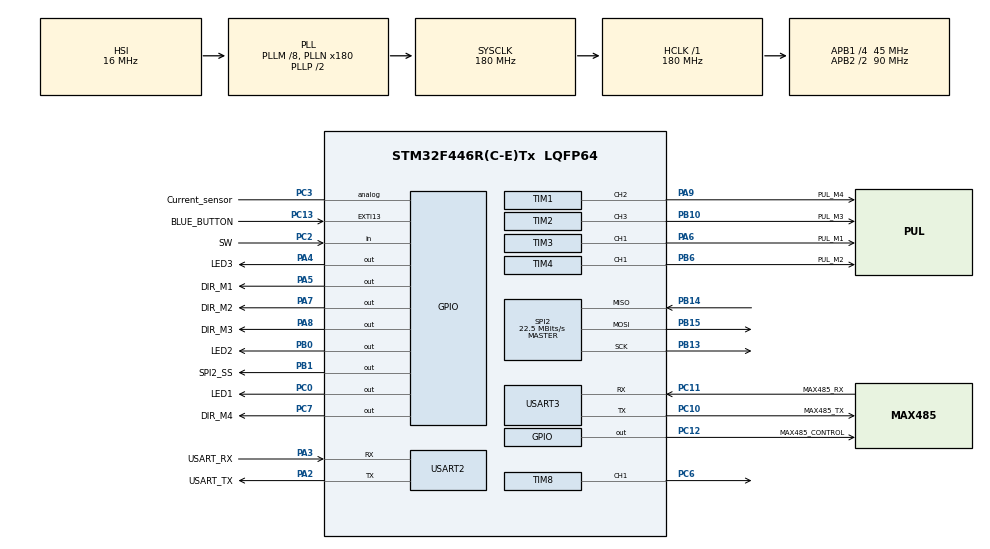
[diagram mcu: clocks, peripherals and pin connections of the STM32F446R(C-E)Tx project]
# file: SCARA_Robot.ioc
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Mcu.Family=STM32F4
Mcu.Name=STM32F446R(C-E)Tx
Mcu.Package=LQFP64
NVIC.PriorityGroup=NVIC_PRIORITYGROUP_0
NVIC.USART2_IRQn=true\:0\:0\:false\:false\:true\:true\:true
PA13.GPIO_Label=TMS
PA13.Mode=Serial_Wire
PA13.Signal=SYS_JTMS-SWDIO
PA14.GPIO_Label=TCK
PA14.Mode=Serial_Wire
PA14.Signal=SYS_JTCK-SWCLK
PA2.GPIO_Label=USART_TX
PA2.Mode=Asynchronous
PA2.Signal=USART2_TX
PA3.GPIO_Label=USART_RX
PA3.Mode=Asynchronous
PA3.Signal=USART2_RX
PA4.GPIO_Label=LED3
PA4.Signal=GPIO_Output
PA5.GPIO_Label=DIR_M1
PA5.Signal=GPIO_Output
PA6.GPIO_Label=PUL_M1
PA6.Signal=S_TIM3_CH1
PA7.GPIO_Label=DIR_M2
PA7.Signal=GPIO_Output
PA8.GPIO_Label=DIR_M3
PA8.Signal=GPIO_Output
PA9.GPIO_Label=PUL_M4
PA9.Signal=S_TIM1_CH2
PB0.GPIO_Label=LED2
PB0.Signal=GPIO_Output
PB1.GPIO_Label=SPI2_SS
PB1.Signal=GPIO_Output
PB10.GPIO_Label=PUL_M3
PB10.Signal=S_TIM2_CH3
PB13.Mode=Full_Duplex_Master
PB13.Signal=SPI2_SCK
PB14.Mode=Full_Duplex_Master
PB14.Signal=SPI2_MISO
PB15.Mode=Full_Duplex_Master
PB15.Signal=SPI2_MOSI
PB6.GPIO_Label=PUL_M2
PB6.Signal=S_TIM4_CH1
PC0.GPIO_Label=LED1
PC0.Signal=GPIO_Output
PC10.GPIO_Label=MAX485_TX
PC10.Mode=Asynchronous
PC10.Signal=USART3_TX
PC11.GPIO_Label=MAX485_RX
PC11.Mode=Asynchronous
PC11.Signal=USART3_RX
PC12.GPIO_Label=MAX485_CONTROL
PC12.Signal=GPIO_Output
PC13.GPIO_Label=BLUE_BUTTON
PC13.GPIO_ModeDefaultEXTI=GPIO_MODE_IT_FALLING
PC13.Signal=GPXTI13
PC14-OSC32_IN.Mode=LSE-External-Oscillator
PC14-OSC32_IN.Signal=RCC_OSC32_IN
PC15-OSC32_OUT.Mode=LSE-External-Oscillator
PC15-OSC32_OUT.Signal=RCC_OSC32_OUT
PC2.GPIO_Label=SW
PC2.Signal=GPIO_Input
PC3.GPIO_Label=Current_sensor
PC3.Signal=GPIO_Analog
PC6.Signal=S_TIM8_CH1
PC7.GPIO_Label=DIR_M4
PC7.Signal=GPIO_Output
PH0-OSC_IN.Mode=HSE-External-Oscillator
PH0-OSC_IN.Signal=RCC_OSC_IN
PH1-OSC_OUT.Mode=HSE-External-Oscillator
PH1-OSC_OUT.Signal=RCC_OSC_OUT
ProjectManager.HeapSize=0x200
ProjectManager.StackSize=0x400
ProjectManager.TargetToolchain=STM32CubeIDE
RCC.48MHZClocksFreq_Value=84000000
RCC.AHBFreq_Value=180000000
RCC.APB1CLKDivider=RCC_HCLK_DIV4
RCC.APB1Freq_Value=45000000
RCC.APB1TimFreq_Value=90000000
RCC.APB2CLKDivider=RCC_HCLK_DIV2
RCC.APB2Freq_Value=90000000
RCC.APB2TimFreq_Value=180000000
RCC.CortexFreq_Value=180000000
RCC.FLatency-AdvancedSettings=FLASH_LATENCY_5
RCC.HCLKFreq_Value=180000000
RCC.HSE_VALUE=8000000
RCC.HSI_VALUE=16000000
RCC.PLLM=8
RCC.PLLN=180
RCC.SYSCLKFreq_VALUE=180000000
RCC.SYSCLKSource=RCC_SYSCLKSOURCE_PLLCLK
RCC.USBFreq_Value=180000000
RCC.VCOOutputFreq_Value=360000000
SH.S_TIM1_CH2.0=TIM1_CH2,PWM Generation2 CH2
SH.S_TIM2_CH3.0=TIM2_CH3,PWM Generation3 CH3
SH.S_TIM3_CH1.0=TIM3_CH1,PWM Generation1 CH1
SH.S_TIM4_CH1.0=TIM4_CH1,PWM Generation1 CH1
SH.S_TIM8_CH1.0=TIM8_CH1,PWM Generation1 CH1
SPI2.CalculateBaudRate=22.5 MBits/s
SPI2.Direction=SPI_DIRECTION_2LINES
SPI2.Mode=SPI_MODE_MASTER
SPI2.VirtualType=VM_MASTER
TIM1.AutoReloadPreload=TIM_AUTORELOAD_PRELOAD_ENABLE
TIM1.Channel-PWM\ Generation2\ CH2=TIM_CHANNEL_2
TIM1.Period=100-1
TIM1.Prescaler=2999
TIM1.Pulse-PWM\ Generation2\ CH2=50
TIM2.AutoReloadPreload=TIM_AUTORELOAD_PRELOAD_ENABLE
TIM2.Channel-PWM\ Generation3\ CH3=TIM_CHANNEL_3
TIM2.Period=119
TIM2.Prescaler=1499
TIM2.Pulse-PWM\ Generation3\ CH3=60
TIM3.AutoReloadPreload=TIM_AUTORELOAD_PRELOAD_ENABLE
TIM3.Channel-PWM\ Generation1\ CH1=TIM_CHANNEL_1
TIM3.Period=100-1
TIM3.Prescaler=1499
TIM3.Pulse-PWM\ Generation1\ CH1=50
TIM4.AutoReloadPreload=TIM_AUTORELOAD_PRELOAD_ENABLE
TIM4.Channel-PWM\ Generation1\ CH1=TIM_CHANNEL_1
TIM4.Period=100-1
TIM4.Prescaler=1499
TIM4.Pulse-PWM\ Generation1\ CH1=50
TIM8.Channel-PWM\ Generation1\ CH1=TIM_CHANNEL_1
TIM8.Period=100-1
TIM8.Prescaler=18000-1
TIM8.Pulse-PWM\ Generation1\ CH1=50
USART2.VirtualMode=VM_ASYNC
USART3.VirtualMode=VM_ASYNC
VP_TIM1_VS_ClockSourceINT.Mode=Internal
VP_TIM2_VS_ClockSourceINT.Mode=Internal
VP_TIM3_VS_ClockSourceINT.Mode=Internal
VP_TIM4_VS_ClockSourceINT.Mode=Internal
board=NUCLEO-F446RE

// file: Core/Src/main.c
/* USER CODE BEGIN Header */
/**
  ******************************************************************************
  * @file           : main.c
  * @brief          : Main program body
  ******************************************************************************
  * @attention
  *
  * <h2><center>&copy; Copyright (c) 2021 STMicroelectronics.
  * All rights reserved.</center></h2>
  *
  * This software component is licensed by ST under BSD 3-Clause license,
  * the "License"; You may not use this file except in compliance with the
  * License. You may obtain a copy of the License at:
  *                        opensource.org/licenses/BSD-3-Clause
  *
  ******************************************************************************
  */
/* USER CODE END Header */
#include "main.h"

/* USER CODE BEGIN Includes */
#include <stdio.h>
/* USER CODE END Includes */

SPI_HandleTypeDef hspi2;

TIM_HandleTypeDef htim1;
TIM_HandleTypeDef htim2;
TIM_HandleTypeDef htim3;
TIM_HandleTypeDef htim4;
TIM_HandleTypeDef htim8;

UART_HandleTypeDef huart2;
UART_HandleTypeDef huart3;

void SystemClock_Config(void);
static void MX_GPIO_Init(void);
static void MX_USART2_UART_Init(void);
static void MX_TIM1_Init(void);
static void MX_TIM2_Init(void);
static void MX_TIM3_Init(void);
static void MX_TIM4_Init(void);
static void MX_SPI2_Init(void);
static void MX_USART3_UART_Init(void);
static void MX_TIM8_Init(void);
/* USER CODE BEGIN PFP */
long map(long x, long fromLow, long fromHigh, long toLow, long toHigh);
void Motor1_On(char Direction, char speed);
void Motor2_On(char Direction, char speed);
void Motor3_On(char Direction, char speed);
void Motor4_On(char Direction, char speed);
void Motor1_Off();
void Motor2_Off();
void Motor3_Off();
void Motor4_Off();
//serial protocol function
void CheckSum(uint8_t sum);
void clear_buffer(void);
void package_state(void);

void test_aon() {
	if (HAL_GPIO_ReadPin(BLUE_BUTTON_GPIO_Port, BLUE_BUTTON_Pin) == 0) {
		Motor2_On(1, 90);
	}
	else {
		Motor2_Off();
	}
}

/* USER CODE END PFP */

/* USER CODE BEGIN 0 */
//serial gobol variable
uint8_t TX_Buffer[] = {0xFF};//"Hello World!\r\n";
uint8_t RX_Buffer[7]= {0};
uint8_t package[7];
uint8_t state;
uint8_t state_check;
uint8_t checksum[2];
uint8_t acknowledge[5] = {0xFF, 0x01, 0x01, 0x66, 0x65};

void HAL_UART_RxCpltCallback(UART_HandleTypeDef *huart)
{
//	HAL_UART_Receive(&huart2, RX_Buffer, 7,100);

	for (int i = 0; i<sizeof (package); i++) {
		package[i] = RX_Buffer[i];
		//printf("package[%d] : %d\n", i, package[i]);
	}
	package_state();
	for (int i = 0; i<sizeof (RX_Buffer); i++) {
		RX_Buffer[i] = 0;
	}
	HAL_UART_Receive_IT(&huart2, RX_Buffer, 7);
}
/* USER CODE END 0 */

int main(void)
{

  /* MCU Configuration--------------------------------------------------------*/

  /* Reset of all peripherals, Initializes the Flash interface and the Systick. */
  HAL_Init();

  /* Configure the system clock */
  SystemClock_Config();

  /* Initialize all configured peripherals */
  MX_GPIO_Init();
  MX_USART2_UART_Init();
  MX_TIM1_Init();
  MX_TIM2_Init();
  MX_TIM3_Init();
  MX_TIM4_Init();
  MX_SPI2_Init();
  MX_USART3_UART_Init();
  MX_TIM8_Init();
  /* USER CODE BEGIN 2 */

//  HAL_TIM_PWM_Start(&htim8, TIM_CHANNEL_1);
  /* USER CODE END 2 */

  /* Infinite loop */
  /* USER CODE BEGIN WHILE */

//  HAL_TIM_PWM_Start(&htim3, TIM_CHANNEL_1); //M1
//  HAL_TIM_PWM_Start(&htim4, TIM_CHANNEL_1); //M2
//  HAL_TIM_PWM_Start(&htim2, TIM_CHANNEL_3); //M3
//  HAL_TIM_PWM_Start(&htim1, TIM_CHANNEL_2); //M4

//  while (HAL_GPIO_ReadPin(BLUE_BUTTON_GPIO_Port, BLUE_BUTTON_Pin) == 1);
  while (1)
  {
//	  for (int i = 0; i<sizeof (RX_Buffer); i++) {
//		  RX_Buffer[i] = 0;
//	  }
//	  HAL_UART_Receive(&huart2, RX_Buffer, 7,100);
	  HAL_UART_Receive_IT(&huart2, RX_Buffer, 7);
//	  for (int i = 0; i<sizeof (package); i++) {
//		  package[i] = RX_Buffer[i];
//			  //printf("package[%d] : %d\n", i, package[i]);
//	  }
//	  package_state();
//	  if (HAL_GPIO_ReadPin(BLUE_BUTTON_GPIO_Port, BLUE_BUTTON_Pin) == 0) {
//	  		Motor2_On(0, 90);
//	  	}
//	  	else {
//	  		Motor2_Off();
//	  	}
//	  test_aon();
    /* USER CODE END WHILE */

  }
}

void SystemClock_Config(void)
{
  RCC_OscInitTypeDef RCC_OscInitStruct = {0};
  RCC_ClkInitTypeDef RCC_ClkInitStruct = {0};

  /** Configure the main internal regulator output voltage
  */
  __HAL_RCC_PWR_CLK_ENABLE();
  __HAL_PWR_VOLTAGESCALING_CONFIG(PWR_REGULATOR_VOLTAGE_SCALE1);
  /** Initializes the RCC Oscillators according to the specified parameters
  * in the RCC_OscInitTypeDef structure.
  */
  RCC_OscInitStruct.OscillatorType = RCC_OSCILLATORTYPE_HSI;
  RCC_OscInitStruct.HSIState = RCC_HSI_ON;
  RCC_OscInitStruct.HSICalibrationValue = RCC_HSICALIBRATION_DEFAULT;
  RCC_OscInitStruct.PLL.PLLState = RCC_PLL_ON;
  RCC_OscInitStruct.PLL.PLLSource = RCC_PLLSOURCE_HSI;
  RCC_OscInitStruct.PLL.PLLM = 8;
  RCC_OscInitStruct.PLL.PLLN = 180;
  RCC_OscInitStruct.PLL.PLLP = RCC_PLLP_DIV2;
  RCC_OscInitStruct.PLL.PLLQ = 2;
  RCC_OscInitStruct.PLL.PLLR = 2;
  if (HAL_RCC_OscConfig(&RCC_OscInitStruct) != HAL_OK)
  {
    Error_Handler();
  }
  /** Activate the Over-Drive mode
  */
  if (HAL_PWREx_EnableOverDrive() != HAL_OK)
  {
    Error_Handler();
  }
  /** Initializes the CPU, AHB and APB buses clocks
  */
  RCC_ClkInitStruct.ClockType = RCC_CLOCKTYPE_HCLK|RCC_CLOCKTYPE_SYSCLK
                              |RCC_CLOCKTYPE_PCLK1|RCC_CLOCKTYPE_PCLK2;
  RCC_ClkInitStruct.SYSCLKSource = RCC_SYSCLKSOURCE_PLLCLK;
  RCC_ClkInitStruct.AHBCLKDivider = RCC_SYSCLK_DIV1;
  RCC_ClkInitStruct.APB1CLKDivider = RCC_HCLK_DIV4;
  RCC_ClkInitStruct.APB2CLKDivider = RCC_HCLK_DIV2;

  if (HAL_RCC_ClockConfig(&RCC_ClkInitStruct, FLASH_LATENCY_5) != HAL_OK)
  {
    Error_Handler();
  }
}

static void MX_SPI2_Init(void)
{

  /* SPI2 parameter configuration*/
  hspi2.Instance = SPI2;
  hspi2.Init.Mode = SPI_MODE_MASTER;
  hspi2.Init.Direction = SPI_DIRECTION_2LINES;
  hspi2.Init.DataSize = SPI_DATASIZE_8BIT;
  hspi2.Init.CLKPolarity = SPI_POLARITY_LOW;
  hspi2.Init.CLKPhase = SPI_PHASE_1EDGE;
  hspi2.Init.NSS = SPI_NSS_SOFT;
  hspi2.Init.BaudRatePrescaler = SPI_BAUDRATEPRESCALER_2;
  hspi2.Init.FirstBit = SPI_FIRSTBIT_MSB;
  hspi2.Init.TIMode = SPI_TIMODE_DISABLE;
  hspi2.Init.CRCCalculation = SPI_CRCCALCULATION_DISABLE;
  hspi2.Init.CRCPolynomial = 10;
  if (HAL_SPI_Init(&hspi2) != HAL_OK)
  {
    Error_Handler();
  }

}

static void MX_TIM1_Init(void)
{

  TIM_ClockConfigTypeDef sClockSourceConfig = {0};
  TIM_MasterConfigTypeDef sMasterConfig = {0};
  TIM_OC_InitTypeDef sConfigOC = {0};
  TIM_BreakDeadTimeConfigTypeDef sBreakDeadTimeConfig = {0};

  htim1.Instance = TIM1;
  htim1.Init.Prescaler = 18000-1;
  htim1.Init.CounterMode = TIM_COUNTERMODE_UP;
  htim1.Init.Period = 100-1;
  htim1.Init.ClockDivision = TIM_CLOCKDIVISION_DIV1;
  htim1.Init.RepetitionCounter = 0;
  htim1.Init.AutoReloadPreload = TIM_AUTORELOAD_PRELOAD_DISABLE;
  if (HAL_TIM_Base_Init(&htim1) != HAL_OK)
  {
    Error_Handler();
  }
  sClockSourceConfig.ClockSource = TIM_CLOCKSOURCE_INTERNAL;
  if (HAL_TIM_ConfigClockSource(&htim1, &sClockSourceConfig) != HAL_OK)
  {
    Error_Handler();
  }
  if (HAL_TIM_PWM_Init(&htim1) != HAL_OK)
  {
    Error_Handler();
  }
  sMasterConfig.MasterOutputTrigger = TIM_TRGO_RESET;
  sMasterConfig.MasterSlaveMode = TIM_MASTERSLAVEMODE_DISABLE;
  if (HAL_TIMEx_MasterConfigSynchronization(&htim1, &sMasterConfig) != HAL_OK)
  {
    Error_Handler();
  }
  sConfigOC.OCMode = TIM_OCMODE_PWM1;
  sConfigOC.Pulse = 50;
  sConfigOC.OCPolarity = TIM_OCPOLARITY_HIGH;
  sConfigOC.OCNPolarity = TIM_OCNPOLARITY_HIGH;
  sConfigOC.OCFastMode = TIM_OCFAST_DISABLE;
  sConfigOC.OCIdleState = TIM_OCIDLESTATE_RESET;
  sConfigOC.OCNIdleState = TIM_OCNIDLESTATE_RESET;
  if (HAL_TIM_PWM_ConfigChannel(&htim1, &sConfigOC, TIM_CHANNEL_2) != HAL_OK)
  {
    Error_Handler();
  }
  sBreakDeadTimeConfig.OffStateRunMode = TIM_OSSR_DISABLE;
  sBreakDeadTimeConfig.OffStateIDLEMode = TIM_OSSI_DISABLE;
  sBreakDeadTimeConfig.LockLevel = TIM_LOCKLEVEL_OFF;
  sBreakDeadTimeConfig.DeadTime = 0;
  sBreakDeadTimeConfig.BreakState = TIM_BREAK_DISABLE;
  sBreakDeadTimeConfig.BreakPolarity = TIM_BREAKPOLARITY_HIGH;
  sBreakDeadTimeConfig.AutomaticOutput = TIM_AUTOMATICOUTPUT_DISABLE;
  if (HAL_TIMEx_ConfigBreakDeadTime(&htim1, &sBreakDeadTimeConfig) != HAL_OK)
  {
    Error_Handler();
  }
  HAL_TIM_MspPostInit(&htim1);

}

static void MX_TIM2_Init(void)
{

  TIM_ClockConfigTypeDef sClockSourceConfig = {0};
  TIM_MasterConfigTypeDef sMasterConfig = {0};
  TIM_OC_InitTypeDef sConfigOC = {0};

  htim2.Instance = TIM2;
  htim2.Init.Prescaler = 9000-1;
  htim2.Init.CounterMode = TIM_COUNTERMODE_UP;
  htim2.Init.Period = 100-1;
  htim2.Init.ClockDivision = TIM_CLOCKDIVISION_DIV1;
  htim2.Init.AutoReloadPreload = TIM_AUTORELOAD_PRELOAD_DISABLE;
  if (HAL_TIM_Base_Init(&htim2) != HAL_OK)
  {
    Error_Handler();
  }
  sClockSourceConfig.ClockSource = TIM_CLOCKSOURCE_INTERNAL;
  if (HAL_TIM_ConfigClockSource(&htim2, &sClockSourceConfig) != HAL_OK)
  {
    Error_Handler();
  }
  if (HAL_TIM_PWM_Init(&htim2) != HAL_OK)
  {
    Error_Handler();
  }
  sMasterConfig.MasterOutputTrigger = TIM_TRGO_RESET;
  sMasterConfig.MasterSlaveMode = TIM_MASTERSLAVEMODE_DISABLE;
  if (HAL_TIMEx_MasterConfigSynchronization(&htim2, &sMasterConfig) != HAL_OK)
  {
    Error_Handler();
  }
  sConfigOC.OCMode = TIM_OCMODE_PWM1;
  sConfigOC.Pulse = 50;
  sConfigOC.OCPolarity = TIM_OCPOLARITY_HIGH;
  sConfigOC.OCFastMode = TIM_OCFAST_DISABLE;
  if (HAL_TIM_PWM_ConfigChannel(&htim2, &sConfigOC, TIM_CHANNEL_3) != HAL_OK)
  {
    Error_Handler();
  }
  HAL_TIM_MspPostInit(&htim2);

}

static void MX_TIM3_Init(void)
{

  TIM_ClockConfigTypeDef sClockSourceConfig = {0};
  TIM_MasterConfigTypeDef sMasterConfig = {0};
  TIM_OC_InitTypeDef sConfigOC = {0};

  htim3.Instance = TIM3;
  htim3.Init.Prescaler = 10000-1;
  htim3.Init.CounterMode = TIM_COUNTERMODE_UP;
  htim3.Init.Period = 100-1;
  htim3.Init.ClockDivision = TIM_CLOCKDIVISION_DIV1;
  htim3.Init.AutoReloadPreload = TIM_AUTORELOAD_PRELOAD_DISABLE;
  if (HAL_TIM_Base_Init(&htim3) != HAL_OK)
  {
    Error_Handler();
  }
  sClockSourceConfig.ClockSource = TIM_CLOCKSOURCE_INTERNAL;
  if (HAL_TIM_ConfigClockSource(&htim3, &sClockSourceConfig) != HAL_OK)
  {
    Error_Handler();
  }
  if (HAL_TIM_PWM_Init(&htim3) != HAL_OK)
  {
    Error_Handler();
  }
  sMasterConfig.MasterOutputTrigger = TIM_TRGO_RESET;
  sMasterConfig.MasterSlaveMode = TIM_MASTERSLAVEMODE_DISABLE;
  if (HAL_TIMEx_MasterConfigSynchronization(&htim3, &sMasterConfig) != HAL_OK)
  {
    Error_Handler();
  }
  sConfigOC.OCMode = TIM_OCMODE_PWM1;
  sConfigOC.Pulse = 50;
  sConfigOC.OCPolarity = TIM_OCPOLARITY_HIGH;
  sConfigOC.OCFastMode = TIM_OCFAST_DISABLE;
  if (HAL_TIM_PWM_ConfigChannel(&htim3, &sConfigOC, TIM_CHANNEL_1) != HAL_OK)
  {
    Error_Handler();
  }
  HAL_TIM_MspPostInit(&htim3);

}

static void MX_TIM4_Init(void)
{

  TIM_ClockConfigTypeDef sClockSourceConfig = {0};
  TIM_MasterConfigTypeDef sMasterConfig = {0};
  TIM_OC_InitTypeDef sConfigOC = {0};

  htim4.Instance = TIM4;
  htim4.Init.Prescaler = 9000-1;
  htim4.Init.CounterMode = TIM_COUNTERMODE_UP;
  htim4.Init.Period = 100-1;
  htim4.Init.ClockDivision = TIM_CLOCKDIVISION_DIV1;
  htim4.Init.AutoReloadPreload = TIM_AUTORELOAD_PRELOAD_DISABLE;
  if (HAL_TIM_Base_Init(&htim4) != HAL_OK)
  {
    Error_Handler();
  }
  sClockSourceConfig.ClockSource = TIM_CLOCKSOURCE_INTERNAL;
  if (HAL_TIM_ConfigClockSource(&htim4, &sClockSourceConfig) != HAL_OK)
  {
    Error_Handler();
  }
  if (HAL_TIM_PWM_Init(&htim4) != HAL_OK)
  {
    Error_Handler();
  }
  sMasterConfig.MasterOutputTrigger = TIM_TRGO_RESET;
  sMasterConfig.MasterSlaveMode = TIM_MASTERSLAVEMODE_DISABLE;
  if (HAL_TIMEx_MasterConfigSynchronization(&htim4, &sMasterConfig) != HAL_OK)
  {
    Error_Handler();
  }
  sConfigOC.OCMode = TIM_OCMODE_PWM1;
  sConfigOC.Pulse = 50;
  sConfigOC.OCPolarity = TIM_OCPOLARITY_HIGH;
  sConfigOC.OCFastMode = TIM_OCFAST_DISABLE;
  if (HAL_TIM_PWM_ConfigChannel(&htim4, &sConfigOC, TIM_CHANNEL_1) != HAL_OK)
  {
    Error_Handler();
  }
  HAL_TIM_MspPostInit(&htim4);

}

static void MX_TIM8_Init(void)
{

  TIM_MasterConfigTypeDef sMasterConfig = {0};
  TIM_OC_InitTypeDef sConfigOC = {0};
  TIM_BreakDeadTimeConfigTypeDef sBreakDeadTimeConfig = {0};

  htim8.Instance = TIM8;
  htim8.Init.Prescaler = 18000-1;
  htim8.Init.CounterMode = TIM_COUNTERMODE_UP;
  htim8.Init.Period = 100-1;
  htim8.Init.ClockDivision = TIM_CLOCKDIVISION_DIV1;
  htim8.Init.RepetitionCounter = 0;
  htim8.Init.AutoReloadPreload = TIM_AUTORELOAD_PRELOAD_DISABLE;
  if (HAL_TIM_PWM_Init(&htim8) != HAL_OK)
  {
    Error_Handler();
  }
  sMasterConfig.MasterOutputTrigger = TIM_TRGO_RESET;
  sMasterConfig.MasterSlaveMode = TIM_MASTERSLAVEMODE_DISABLE;
  if (HAL_TIMEx_MasterConfigSynchronization(&htim8, &sMasterConfig) != HAL_OK)
  {
    Error_Handler();
  }
  sConfigOC.OCMode = TIM_OCMODE_PWM1;
  sConfigOC.Pulse = 50;
  sConfigOC.OCPolarity = TIM_OCPOLARITY_HIGH;
  sConfigOC.OCNPolarity = TIM_OCNPOLARITY_HIGH;
  sConfigOC.OCFastMode = TIM_OCFAST_DISABLE;
  sConfigOC.OCIdleState = TIM_OCIDLESTATE_RESET;
  sConfigOC.OCNIdleState = TIM_OCNIDLESTATE_RESET;
  if (HAL_TIM_PWM_ConfigChannel(&htim8, &sConfigOC, TIM_CHANNEL_1) != HAL_OK)
  {
    Error_Handler();
  }
  sBreakDeadTimeConfig.OffStateRunMode = TIM_OSSR_DISABLE;
  sBreakDeadTimeConfig.OffStateIDLEMode = TIM_OSSI_DISABLE;
  sBreakDeadTimeConfig.LockLevel = TIM_LOCKLEVEL_OFF;
  sBreakDeadTimeConfig.DeadTime = 0;
  sBreakDeadTimeConfig.BreakState = TIM_BREAK_DISABLE;
  sBreakDeadTimeConfig.BreakPolarity = TIM_BREAKPOLARITY_HIGH;
  sBreakDeadTimeConfig.AutomaticOutput = TIM_AUTOMATICOUTPUT_DISABLE;
  if (HAL_TIMEx_ConfigBreakDeadTime(&htim8, &sBreakDeadTimeConfig) != HAL_OK)
  {
    Error_Handler();
  }
  HAL_TIM_MspPostInit(&htim8);

}

static void MX_USART2_UART_Init(void)
{

  huart2.Instance = USART2;
  huart2.Init.BaudRate = 115200;
  huart2.Init.WordLength = UART_WORDLENGTH_8B;
  huart2.Init.StopBits = UART_STOPBITS_1;
  huart2.Init.Parity = UART_PARITY_NONE;
  huart2.Init.Mode = UART_MODE_TX_RX;
  huart2.Init.HwFlowCtl = UART_HWCONTROL_NONE;
  huart2.Init.OverSampling = UART_OVERSAMPLING_16;
  if (HAL_UART_Init(&huart2) != HAL_OK)
  {
    Error_Handler();
  }

}

static void MX_USART3_UART_Init(void)
{

  huart3.Instance = USART3;
  huart3.Init.BaudRate = 115200;
  huart3.Init.WordLength = UART_WORDLENGTH_8B;
  huart3.Init.StopBits = UART_STOPBITS_1;
  huart3.Init.Parity = UART_PARITY_NONE;
  huart3.Init.Mode = UART_MODE_TX_RX;
  huart3.Init.HwFlowCtl = UART_HWCONTROL_NONE;
  huart3.Init.OverSampling = UART_OVERSAMPLING_16;
  if (HAL_UART_Init(&huart3) != HAL_OK)
  {
    Error_Handler();
  }

}

static void MX_GPIO_Init(void)
{
  GPIO_InitTypeDef GPIO_InitStruct = {0};

  /* GPIO Ports Clock Enable */
  __HAL_RCC_GPIOC_CLK_ENABLE();
  __HAL_RCC_GPIOH_CLK_ENABLE();
  __HAL_RCC_GPIOA_CLK_ENABLE();
  __HAL_RCC_GPIOB_CLK_ENABLE();

  /*Configure GPIO pin Output Level */
  HAL_GPIO_WritePin(GPIOC, LED1_Pin|DIR_M4_Pin|MAX485_CONTROL_Pin, GPIO_PIN_RESET);

  /*Configure GPIO pin Output Level */
  HAL_GPIO_WritePin(GPIOA, LED3_Pin|DIR_M1_Pin|DIR_M2_Pin|DIR_M3_Pin, GPIO_PIN_RESET);

  /*Configure GPIO pin Output Level */
  HAL_GPIO_WritePin(GPIOB, LED2_Pin|SPI2_SS_Pin, GPIO_PIN_RESET);

  /*Configure GPIO pin : BLUE_BUTTON_Pin */
  GPIO_InitStruct.Pin = BLUE_BUTTON_Pin;
  GPIO_InitStruct.Mode = GPIO_MODE_IT_FALLING;
  GPIO_InitStruct.Pull = GPIO_NOPULL;
  HAL_GPIO_Init(BLUE_BUTTON_GPIO_Port, &GPIO_InitStruct);

  /*Configure GPIO pins : LED1_Pin DIR_M4_Pin MAX485_CONTROL_Pin */
  GPIO_InitStruct.Pin = LED1_Pin|DIR_M4_Pin|MAX485_CONTROL_Pin;
  GPIO_InitStruct.Mode = GPIO_MODE_OUTPUT_PP;
  GPIO_InitStruct.Pull = GPIO_NOPULL;
  GPIO_InitStruct.Speed = GPIO_SPEED_FREQ_LOW;
  HAL_GPIO_Init(GPIOC, &GPIO_InitStruct);

  /*Configure GPIO pin : SW_Pin */
  GPIO_InitStruct.Pin = SW_Pin;
  GPIO_InitStruct.Mode = GPIO_MODE_INPUT;
  GPIO_InitStruct.Pull = GPIO_NOPULL;
  HAL_GPIO_Init(SW_GPIO_Port, &GPIO_InitStruct);

  /*Configure GPIO pin : Current_sensor_Pin */
  GPIO_InitStruct.Pin = Current_sensor_Pin;
  GPIO_InitStruct.Mode = GPIO_MODE_ANALOG;
  GPIO_InitStruct.Pull = GPIO_NOPULL;
  HAL_GPIO_Init(Current_sensor_GPIO_Port, &GPIO_InitStruct);

  /*Configure GPIO pins : LED3_Pin DIR_M1_Pin DIR_M2_Pin DIR_M3_Pin */
  GPIO_InitStruct.Pin = LED3_Pin|DIR_M1_Pin|DIR_M2_Pin|DIR_M3_Pin;
  GPIO_InitStruct.Mode = GPIO_MODE_OUTPUT_PP;
  GPIO_InitStruct.Pull = GPIO_NOPULL;
  GPIO_InitStruct.Speed = GPIO_SPEED_FREQ_LOW;
  HAL_GPIO_Init(GPIOA, &GPIO_InitStruct);

  /*Configure GPIO pins : LED2_Pin SPI2_SS_Pin */
  GPIO_InitStruct.Pin = LED2_Pin|SPI2_SS_Pin;
  GPIO_InitStruct.Mode = GPIO_MODE_OUTPUT_PP;
  GPIO_InitStruct.Pull = GPIO_NOPULL;
  GPIO_InitStruct.Speed = GPIO_SPEED_FREQ_LOW;
  HAL_GPIO_Init(GPIOB, &GPIO_InitStruct);

}

/* USER CODE BEGIN 4 */

long map(long x, long fromLow, long fromHigh, long toLow, long toHigh) {
  return ((x - fromLow) * (toHigh - toLow) / (fromHigh - fromLow) + toLow);
}

void Motor1_On(char Direction, char speed) {
	HAL_GPIO_WritePin(DIR_M1_GPIO_Port, DIR_M1_Pin, Direction);

	//Min 60000 = 15 Hz, Max 2571 = 350Hz
//	TIM3->PSC = (900000 / map(speed, 0, 100, 15, 350)) - 1;
	htim3.Init.Prescaler = (900000 / map(speed, 0, 100, 15, 350)) - 1;
	HAL_TIM_PWM_Start(&htim3, TIM_CHANNEL_1);
}

void Motor2_On(char Direction, char speed) {
	HAL_GPIO_WritePin(DIR_M2_GPIO_Port, DIR_M2_Pin, Direction);
	//Min 18000 = 50 Hz, Max 750 = 1.2 KHz
	TIM4->PSC = (900000 / map(speed, 0, 100, 50, 1200)) - 1;//50-1200
//	htim4.Init.Prescaler = (900000 / map(speed, 0, 100, 50, 1200)) - 1;
	HAL_TIM_PWM_Start(&htim4, TIM_CHANNEL_1);
}

void Motor3_On(char Direction, char speed) {
	HAL_GPIO_WritePin(DIR_M3_GPIO_Port, DIR_M3_Pin, Direction);
	//Min 30000 = 30 Hz, Max 1800 = 500 Hz
//	TIM2->PSC = (900000 / map(speed, 0, 100, 30, 500)) - 1;
	htim2.Init.Prescaler = (900000 / map(speed, 0, 100, 30, 500)) - 1;
	HAL_TIM_PWM_Start(&htim2, TIM_CHANNEL_3);
}

void Motor4_On(char Direction, char speed) {
	HAL_GPIO_WritePin(DIR_M4_GPIO_Port, DIR_M4_Pin, Direction);
	//Min 600000  = 30 Hz,  Max 1800 = 1 KHz
//	TIM1->PSC = (1800000 / map(speed, 0, 100, 30, 1000)) - 1;
	htim1.Init.Prescaler =(1800000 / map(speed, 0, 100, 30, 1000)) - 1;
	HAL_TIM_PWM_Start(&htim1, TIM_CHANNEL_2);
}

void Motor1_Off() {
	HAL_TIM_PWM_Stop(&htim3, TIM_CHANNEL_1);
}

void Motor2_Off() {
	HAL_TIM_PWM_Stop(&htim4, TIM_CHANNEL_1);
}

void Motor3_Off() {
	HAL_TIM_PWM_Stop(&htim2, TIM_CHANNEL_3);
}

void Motor4_Off() {
	HAL_TIM_PWM_Stop(&htim1, TIM_CHANNEL_2);
}

void CheckSum(uint8_t sum){
	char str[2];
	sum = ~sum;
	sum++;
	sprintf(str, "%x", sum);
	for (int i = 0; i<sizeof (checksum); i++) {
		checksum[i] = str[i];
	}
}

void clear_buffer(void) {
    int i;
//    for (int i = 0; i<sizeof (checksum); i++) {
//		checksum[i] = 0;
//	}
    for (i = 0; i<sizeof (package); i++) {
        package[i] = 0;
    }
}
void package_state(void) {
    int i;
    uint8_t sum=0;
    for (i = 1; i<sizeof (package) - 2; i++) {
        sum += package[i];
    }
    CheckSum(sum);
    if (package[0] == 0xFF) {
        if (package[5] == checksum[0] && package[6] == checksum[1]) {
            if (package[2] == 0x01) {
            	//jointjog
            	HAL_UART_Transmit(&huart2,acknowledge,sizeof(acknowledge),100);
                state_check = 1;
            } else if (package[1] == 0x02) {
                state_check = 2;
            } else if (package[1] == 0x03) {
                state_check = 3;
            } else {
                //err();
                clear_buffer();
            }
        } else {
            //err();
            clear_buffer();
        }
    } else {
        //err();
        clear_buffer();
    }
    //state_check > 1
    if (state_check == 1) {
    	switch (package[4]) {
    		case 0x72 :{
    			Motor1_On(1, 30);
    			break;
    		}
    		case 0x66 :{
    			Motor1_On(0, 30);
				break;
			}
    		case 0x74 :{
    			Motor2_On(1, 100);
				break;
			}
    		case 0x67 :{
    			Motor2_On(0, 100);
				break;
			}
    		case 0x79 :{
    			Motor3_On(1, 50);
				break;
			}
    		case 0x41 :{
    			Motor3_On(0, 50);
				break;
			}
			case 0x75 :{
				Motor4_On(1, 50);
				break;
			}
			case 0x6a :{
				Motor4_On(0, 50);
				break;
			}
			default:{
				//err();
				clear_buffer();
				Motor1_Off();
				Motor2_Off();
				Motor3_Off();
				Motor4_Off();
			}
    	}
    	clear_buffer();
    	Motor1_Off();
    	Motor2_Off();
    	Motor3_Off();
    	Motor4_Off();
//    } else if (state_check == 2) { case
//
//    } else if (state_check == 3) { case
//
    }
    state_check = 0;
}
/* USER CODE END 4 */

void Error_Handler(void)
{
  __disable_irq();
  while (1)
  {
  }
}
